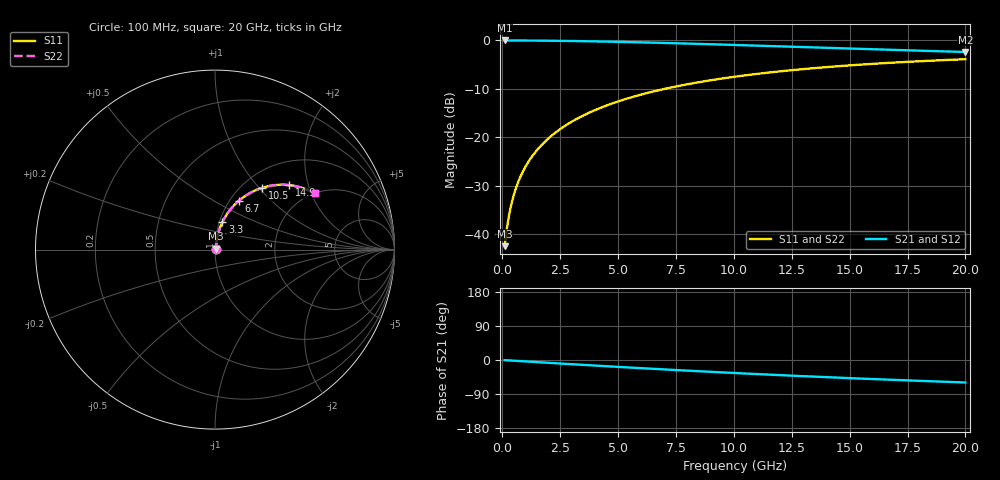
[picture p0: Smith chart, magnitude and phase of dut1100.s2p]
! Touchstone file exported from HFSS 2026.1.0
!  File:  C:/ffzhzh/LocalFiles/Ansys_Project_Files/temp_train_BSMRDL_1100_1783174771_43440.aedt
!  Generated:  10:21:04 PM Jul  4, 2026
!  Design:  BSMRDL
!  Project:  temp_train_BSMRDL_1100_1783174771_43440
! Variables:
!  h_bsmrdl = 4.5um
!  h_ox = 20um
!  h_rdl = 5um
!  h_sub = 80um
!  h_tmrdl = 5um
!  h_tsv = 80um
!  h_via = 3um
!  l_bsmrdl = 836.57um
!  l_sub = 1236.57um
!  l_tmrdl = 200um
!  m_sub = 200um
!  pitch = 58.57um
!  r_tsv = 6um
!  s_tmrdl = 10um
!  w_bsmrdl = 11.75um
!  w_sub = 500um
!  w_tmrdl = 12um
!  x_tsv_center1 = 206um
!  x_tsv_center2 = 1054.32um
!  x_tsv_center3 = 1266.32um
!  x_tsv_center4 = 2114.64um
!  x_tsv_center5 = 2326.64um
!  x_tsv_center6 = 3174.96um
# GHz S MA R 50.000000
! Terminal data exported
! Port[1] = BSM_RDL1_1_T1
! Port[2] = BSM_RDL1_1_T2
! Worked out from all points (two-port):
!   200 points, 100 MHz to 20 GHz, reference 50 ohm
!   highest |S21| = -0.05 dB at 100 MHz (marker M1); lowest = -2.4 dB at 20 GHz (marker M2)
!   |S21| within 3 dB of the highest: start of sweep to end of sweep
!   lowest |S11| = -42.5 dB at 100 MHz (marker M3), VSWR 1.02, Z = 50.6 + j0.507 ohm
!   |S11| at or under -10 dB: start of sweep to 7.043 GHz
!   |S22| runs from -42.5 to -3.9 dB; largest |S21 - S12| = 1.2e-14
!   S11 on the Smith chart (normalised r, x): 100 MHz: 1.01, +0.01; 3.3 GHz: 1.03, +0.32; 6.7 GHz: 1.10, +0.66; 10.5 GHz: 1.23, +1.05; 14.9 GHz: 1.48, +1.52; 20 GHz: 2.01, +2.11
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0.1  0.007522 41.8  0.9944 -0.4  0.9944 -0.4  0.007522 41.8
! Gamma 0 0 0 0
! Port Impedance 50 0 50 0
0.2  0.01154 59.9  0.9943 -0.8  0.9943 -0.8  0.01154 59.9
0.3  0.0161 67.9  0.9941 -1.1  0.9941 -1.1  0.0161 67.9
0.4  0.02081 72.1  0.9939 -1.5  0.9939 -1.5  0.02081 72.1
0.5  0.02558 74.6  0.9937 -1.9  0.9937 -1.9  0.02558 74.6
0.7  0.03517 77.3  0.9933 -2.6  0.9933 -2.6  0.03517 77.3
1  0.04961 78.9  0.9925 -3.8  0.9925 -3.8  0.04961 78.9
1.4  0.06887 79.3  0.9911 -5.2  0.9911 -5.2  0.06887 79.3
1.9  0.09283 78.6  0.9888 -7.1  0.9888 -7.1  0.09283 78.6
2.5  0.1213 77.2  0.9853 -9.3  0.9853 -9.3  0.1213 77.2
3.3  0.1584 74.9  0.9793 -12.2  0.9793 -12.2  0.1584 74.9
3.5  0.1676 74.3  0.9776 -12.9  0.9776 -12.9  0.1676 74.3
4.9  0.2294 69.7  0.9637 -17.8  0.9637 -17.8  0.2294 69.7
6.7  0.303 63.9  0.9417 -23.9  0.9417 -23.9  0.303 63.9
6.8  0.3069 63.6  0.9404 -24.3  0.9404 -24.3  0.3069 63.6
8.3  0.3624 59.0  0.9196 -29.1  0.9196 -29.1  0.3624 59.0
10.1  0.4223 53.6  0.893 -34.5  0.893 -34.5  0.4223 53.6
10.5  0.4347 52.5  0.887 -35.7  0.887 -35.7  0.4346 52.5
13.4  0.5139 44.7  0.8435 -43.8  0.8435 -43.8  0.5139 44.7
14.9  0.5483 40.9  0.8218 -47.6  0.8218 -47.6  0.5483 40.9
16.7  0.5843 36.6  0.797 -52.0  0.797 -52.0  0.5843 36.6
20  0.6371 29.4  0.7565 -59.3  0.7565 -59.3  0.6371 29.4
